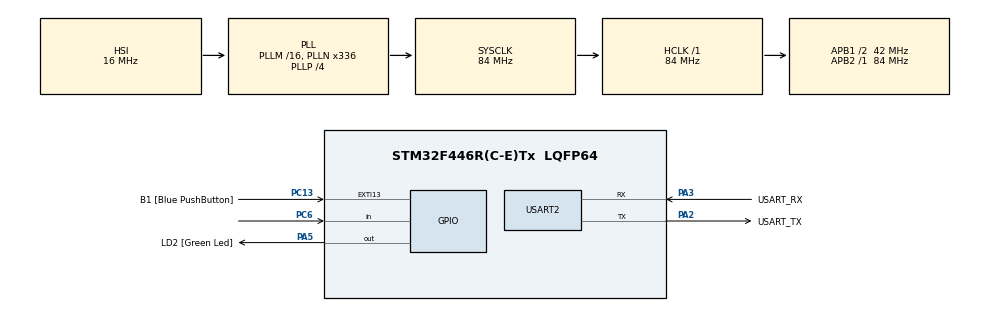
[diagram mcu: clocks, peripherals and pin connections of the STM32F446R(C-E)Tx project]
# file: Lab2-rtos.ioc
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ADC1.Channel-0\#ChannelRegularConversion=ADC_CHANNEL_TEMPSENSOR
ADC1.NbrOfConversionFlag=1
ADC1.Rank-0\#ChannelRegularConversion=1
ADC1.SamplingTime-0\#ChannelRegularConversion=ADC_SAMPLETIME_3CYCLES
ADC1.master=1
FREERTOS.Tasks01=blink01,0,128,StartBlink01,Default,NULL,Dynamic,NULL,NULL
FREERTOS.Timers01=periodicTimer,PTCallback,osTimerPeriodic,Default,NULL,Dynamic,NULL
FREERTOS.configTIMER_TASK_PRIORITY=6
FREERTOS.configUSE_NEWLIB_REENTRANT=1
FREERTOS.configUSE_TIMERS=1
Mcu.Family=STM32F4
Mcu.Name=STM32F446R(C-E)Tx
Mcu.Package=LQFP64
NVIC.EXTI15_10_IRQn=true\:5\:0\:false\:false\:true\:true\:true\:true\:true
NVIC.PriorityGroup=NVIC_PRIORITYGROUP_4
NVIC.TIM1_UP_TIM10_IRQn=true\:15\:0\:false\:false\:true\:false\:false\:true\:true
NVIC.TimeBase=TIM1_UP_TIM10_IRQn
NVIC.TimeBaseIP=TIM1
PA13.GPIO_Label=TMS
PA13.Mode=Serial_Wire
PA13.Signal=SYS_JTMS-SWDIO
PA14.GPIO_Label=TCK
PA14.Mode=Serial_Wire
PA14.Signal=SYS_JTCK-SWCLK
PA2.GPIO_Label=USART_TX
PA2.Mode=Asynchronous
PA2.Signal=USART2_TX
PA3.GPIO_Label=USART_RX
PA3.Mode=Asynchronous
PA3.Signal=USART2_RX
PA5.GPIO_Label=LD2 [Green Led]
PA5.Signal=GPIO_Output
PB3.GPIO_Label=SWO
PB3.Signal=SYS_JTDO-SWO
PC13.GPIO_Label=B1 [Blue PushButton]
PC13.GPIO_ModeDefaultEXTI=GPIO_MODE_IT_FALLING
PC13.Signal=GPXTI13
PC14-OSC32_IN.Mode=LSE-External-Oscillator
PC14-OSC32_IN.Signal=RCC_OSC32_IN
PC15-OSC32_OUT.Mode=LSE-External-Oscillator
PC15-OSC32_OUT.Signal=RCC_OSC32_OUT
PC6.Signal=GPIO_Input
PH0-OSC_IN.Mode=HSE-External-Oscillator
PH0-OSC_IN.Signal=RCC_OSC_IN
PH1-OSC_OUT.Mode=HSE-External-Oscillator
PH1-OSC_OUT.Signal=RCC_OSC_OUT
ProjectManager.HeapSize=0x200
ProjectManager.StackSize=0x400
ProjectManager.TargetToolchain=STM32CubeIDE
RCC.48MHZClocksFreq_Value=84000000
RCC.AHBFreq_Value=84000000
RCC.APB1CLKDivider=RCC_HCLK_DIV2
RCC.APB1Freq_Value=42000000
RCC.APB1TimFreq_Value=84000000
RCC.APB2Freq_Value=84000000
RCC.APB2TimFreq_Value=84000000
RCC.CortexFreq_Value=84000000
RCC.FLatency-AdvancedSettings=FLASH_LATENCY_2
RCC.HCLKFreq_Value=84000000
RCC.HSE_VALUE=8000000
RCC.HSI_VALUE=16000000
RCC.PLLN=336
RCC.PLLP=RCC_PLLP_DIV4
RCC.SYSCLKFreq_VALUE=84000000
RCC.SYSCLKSource=RCC_SYSCLKSOURCE_PLLCLK
RCC.USBFreq_Value=168000000
RCC.VCOOutputFreq_Value=336000000
USART2.VirtualMode=VM_ASYNC
VP_ADC1_TempSens_Input.Mode=IN-TempSens
VP_FREERTOS_VS_CMSIS_V1.Mode=CMSIS_V1
VP_SYS_VS_tim1.Mode=TIM1
board=NUCLEO-F446RE

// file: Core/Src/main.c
/* USER CODE BEGIN Header */
/**
  ******************************************************************************
  * @file           : main.c
  * @brief          : Main program body
  ******************************************************************************
  * @attention
  *
  * Copyright (c) 2023 STMicroelectronics.
  * All rights reserved.
  *
  * This software is licensed under terms that can be found in the LICENSE file
  * in the root directory of this software component.
  * If no LICENSE file comes with this software, it is provided AS-IS.
  *
  ******************************************************************************
  */
/* USER CODE END Header */
#include "main.h"
#include "cmsis_os.h"

/* USER CODE BEGIN Includes */

//Initialization of global varaibles neede for code to work.
//Default blinking frequency
uint16_t blink_freq = 10;
//default period of time - later automatically calculated basing on freq
uint16_t period = 50;
//varaible of button state, changed to tru only by IRQ
uint8_t button_pressed = 0;
/* USER CODE END Includes */

ADC_HandleTypeDef hadc1;

UART_HandleTypeDef huart2;

osThreadId blink01Handle;
osTimerId periodicTimerHandle;

void SystemClock_Config(void);
static void MX_GPIO_Init(void);
static void MX_USART2_UART_Init(void);
static void MX_ADC1_Init(void);
void StartBlink01(void const * argument);
void PTCallback(void const * argument);

int main(void)
{

  /* MCU Configuration--------------------------------------------------------*/

  /* Reset of all peripherals, Initializes the Flash interface and the Systick. */
  HAL_Init();

  /* Configure the system clock */
  SystemClock_Config();

  /* Initialize all configured peripherals */
  MX_GPIO_Init();
  MX_USART2_UART_Init();
  MX_ADC1_Init();

  /* Create the timer(s) */
  /* definition and creation of periodicTimer */
  osTimerDef(periodicTimer, PTCallback);
  periodicTimerHandle = osTimerCreate(osTimer(periodicTimer), osTimerPeriodic, NULL);

  /* Create the thread(s) */
  /* definition and creation of blink01 */
  osThreadDef(blink01, StartBlink01, osPriorityNormal, 0, 128);
  blink01Handle = osThreadCreate(osThread(blink01), NULL);

  /* Start scheduler */
  osKernelStart();

  /* We should never get here as control is now taken by the scheduler */
  /* Infinite loop */
  while (1)
  {

  }
}

void SystemClock_Config(void)
{
  RCC_OscInitTypeDef RCC_OscInitStruct = {0};
  RCC_ClkInitTypeDef RCC_ClkInitStruct = {0};

  /** Configure the main internal regulator output voltage
  */
  __HAL_RCC_PWR_CLK_ENABLE();
  __HAL_PWR_VOLTAGESCALING_CONFIG(PWR_REGULATOR_VOLTAGE_SCALE3);

  /** Initializes the RCC Oscillators according to the specified parameters
  * in the RCC_OscInitTypeDef structure.
  */
  RCC_OscInitStruct.OscillatorType = RCC_OSCILLATORTYPE_HSI;
  RCC_OscInitStruct.HSIState = RCC_HSI_ON;
  RCC_OscInitStruct.HSICalibrationValue = RCC_HSICALIBRATION_DEFAULT;
  RCC_OscInitStruct.PLL.PLLState = RCC_PLL_ON;
  RCC_OscInitStruct.PLL.PLLSource = RCC_PLLSOURCE_HSI;
  RCC_OscInitStruct.PLL.PLLM = 16;
  RCC_OscInitStruct.PLL.PLLN = 336;
  RCC_OscInitStruct.PLL.PLLP = RCC_PLLP_DIV4;
  RCC_OscInitStruct.PLL.PLLQ = 2;
  RCC_OscInitStruct.PLL.PLLR = 2;
  if (HAL_RCC_OscConfig(&RCC_OscInitStruct) != HAL_OK)
  {
    Error_Handler();
  }

  /** Initializes the CPU, AHB and APB buses clocks
  */
  RCC_ClkInitStruct.ClockType = RCC_CLOCKTYPE_HCLK|RCC_CLOCKTYPE_SYSCLK
                              |RCC_CLOCKTYPE_PCLK1|RCC_CLOCKTYPE_PCLK2;
  RCC_ClkInitStruct.SYSCLKSource = RCC_SYSCLKSOURCE_PLLCLK;
  RCC_ClkInitStruct.AHBCLKDivider = RCC_SYSCLK_DIV1;
  RCC_ClkInitStruct.APB1CLKDivider = RCC_HCLK_DIV2;
  RCC_ClkInitStruct.APB2CLKDivider = RCC_HCLK_DIV1;

  if (HAL_RCC_ClockConfig(&RCC_ClkInitStruct, FLASH_LATENCY_2) != HAL_OK)
  {
    Error_Handler();
  }
}

static void MX_ADC1_Init(void)
{

  ADC_ChannelConfTypeDef sConfig = {0};

  /** Configure the global features of the ADC (Clock, Resolution, Data Alignment and number of conversion)
  */
  hadc1.Instance = ADC1;
  hadc1.Init.ClockPrescaler = ADC_CLOCK_SYNC_PCLK_DIV4;
  hadc1.Init.Resolution = ADC_RESOLUTION_12B;
  hadc1.Init.ScanConvMode = DISABLE;
  hadc1.Init.ContinuousConvMode = DISABLE;
  hadc1.Init.DiscontinuousConvMode = DISABLE;
  hadc1.Init.ExternalTrigConvEdge = ADC_EXTERNALTRIGCONVEDGE_NONE;
  hadc1.Init.ExternalTrigConv = ADC_SOFTWARE_START;
  hadc1.Init.DataAlign = ADC_DATAALIGN_RIGHT;
  hadc1.Init.NbrOfConversion = 1;
  hadc1.Init.DMAContinuousRequests = DISABLE;
  hadc1.Init.EOCSelection = ADC_EOC_SINGLE_CONV;
  if (HAL_ADC_Init(&hadc1) != HAL_OK)
  {
    Error_Handler();
  }

  /** Configure for the selected ADC regular channel its corresponding rank in the sequencer and its sample time.
  */
  sConfig.Channel = ADC_CHANNEL_TEMPSENSOR;
  sConfig.Rank = 1;
  sConfig.SamplingTime = ADC_SAMPLETIME_3CYCLES;
  if (HAL_ADC_ConfigChannel(&hadc1, &sConfig) != HAL_OK)
  {
    Error_Handler();
  }

}

static void MX_USART2_UART_Init(void)
{

  huart2.Instance = USART2;
  huart2.Init.BaudRate = 115200;
  huart2.Init.WordLength = UART_WORDLENGTH_8B;
  huart2.Init.StopBits = UART_STOPBITS_1;
  huart2.Init.Parity = UART_PARITY_NONE;
  huart2.Init.Mode = UART_MODE_TX_RX;
  huart2.Init.HwFlowCtl = UART_HWCONTROL_NONE;
  huart2.Init.OverSampling = UART_OVERSAMPLING_16;
  if (HAL_UART_Init(&huart2) != HAL_OK)
  {
    Error_Handler();
  }

}

static void MX_GPIO_Init(void)
{
  GPIO_InitTypeDef GPIO_InitStruct = {0};

  /* GPIO Ports Clock Enable */
  __HAL_RCC_GPIOC_CLK_ENABLE();
  __HAL_RCC_GPIOH_CLK_ENABLE();
  __HAL_RCC_GPIOA_CLK_ENABLE();
  __HAL_RCC_GPIOB_CLK_ENABLE();

  /*Configure GPIO pin Output Level */
  HAL_GPIO_WritePin(LD2_GPIO_Port, LD2_Pin, GPIO_PIN_RESET);

  /*Configure GPIO pin : B1_Pin */
  GPIO_InitStruct.Pin = B1_Pin;
  GPIO_InitStruct.Mode = GPIO_MODE_IT_FALLING;
  GPIO_InitStruct.Pull = GPIO_NOPULL;
  HAL_GPIO_Init(B1_GPIO_Port, &GPIO_InitStruct);

  /*Configure GPIO pin : LD2_Pin */
  GPIO_InitStruct.Pin = LD2_Pin;
  GPIO_InitStruct.Mode = GPIO_MODE_OUTPUT_PP;
  GPIO_InitStruct.Pull = GPIO_NOPULL;
  GPIO_InitStruct.Speed = GPIO_SPEED_FREQ_LOW;
  HAL_GPIO_Init(LD2_GPIO_Port, &GPIO_InitStruct);

  /*Configure GPIO pin : PC6 */
  GPIO_InitStruct.Pin = GPIO_PIN_6;
  GPIO_InitStruct.Mode = GPIO_MODE_INPUT;
  GPIO_InitStruct.Pull = GPIO_NOPULL;
  HAL_GPIO_Init(GPIOC, &GPIO_InitStruct);

  /* EXTI interrupt init*/
  HAL_NVIC_SetPriority(EXTI15_10_IRQn, 5, 0);
  HAL_NVIC_EnableIRQ(EXTI15_10_IRQn);

}

/* USER CODE BEGIN 4 */
void HAL_GPIO_EXTI_Callback(uint16_t GPIO_Pin)
{
	//if callback was called by gpio pin corresponding to button varaible state will change
  if(GPIO_Pin == B1_Pin) {
	  button_pressed = 1;

  }
}
/* USER CODE END 4 */

void StartBlink01(void const * argument)
{
  /* USER CODE BEGIN 5 */
	osTimerStart(periodicTimerHandle, 1000);
  /* Infinite loop */
  for(;;)
  {

	  // calculate period in loop to adjust when varaible blink_freq is changed.
	  //period = 1000/(blink_freq*2);
	  //toggle LED
	  HAL_GPIO_TogglePin(LD2_GPIO_Port, LD2_Pin);
	  // delay for rtos - when to call function next time. It does not block running of uC.
	  osDelay(1000);
  }
  osThreadTerminate(NULL);
  /* USER CODE END 5 */
}

/* PTCallback function */
void PTCallback(void const * argument)
{
  /* USER CODE BEGIN PTCallback */
	 HAL_ADC_Start(&hadc1);
	  HAL_ADC_PollForConversion(&hadc1, 1);
	  uint16_t raw = HAL_ADC_GetValue(&hadc1);
	  HAL_ADC_Stop(&hadc1);
float vsense = (3.3 * raw )/4095;
	  float temperature = ((vsense) - 0.76)/(0.0025) + 25;

  /* USER CODE END PTCallback */
}

void HAL_TIM_PeriodElapsedCallback(TIM_HandleTypeDef *htim)
{
  if (htim->Instance == TIM1) {
    HAL_IncTick();
  }
}

void Error_Handler(void)
{
  __disable_irq();
  while (1)
  {
  }
}
